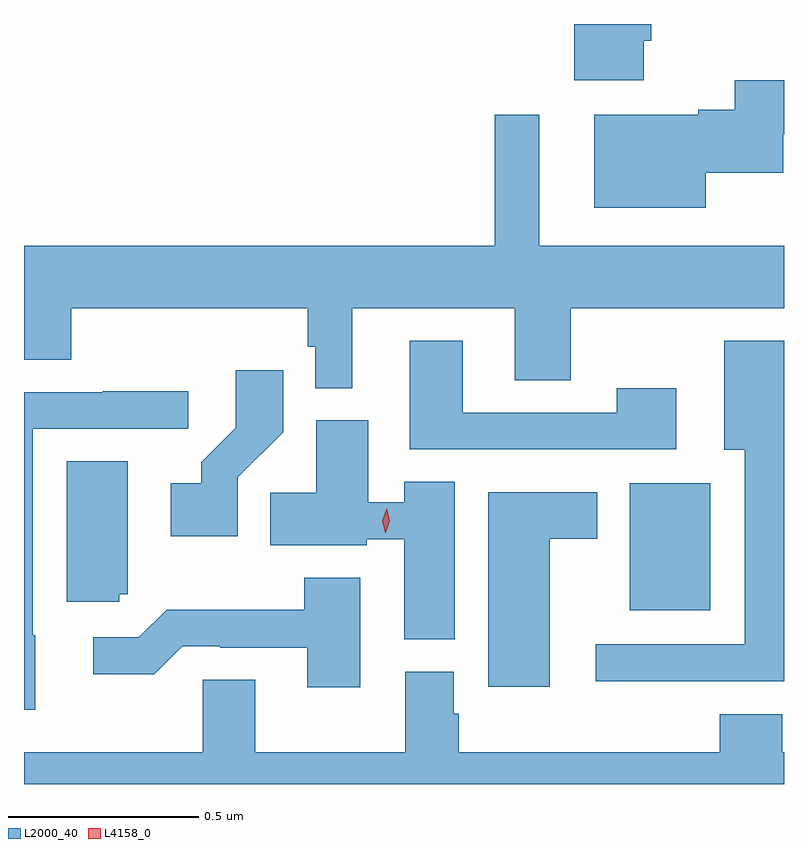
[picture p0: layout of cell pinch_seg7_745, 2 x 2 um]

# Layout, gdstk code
import gdstk
lib = gdstk.Library(unit=1e-6, precision=1e-09)
def R(c, l, rs):  # rectangles x0, y0, x1, y1
    for r in rs: c.add(gdstk.rectangle(r[:2], r[2:], *l))
def P(c, l, *ps):  # polygons
    for p in ps: c.add(gdstk.Polygon(p, *l))
L2000_40 = (2000, 40)
L4158_0 = (4158, 0)

pinch_seg7_745 = lib.new_cell('pinch_seg7_745')
R(pinch_seg7_745, L2000_40, [(322.688,1037.117,322.9,1037.452)])
P(pinch_seg7_745, L2000_40, [(322.725,1038.616),(322.745,1038.616),(322.745,1038.66),(322.542,1038.66),(322.542,1038.512),(322.725,1038.512)],
  [(322.888,1038.269),(323.092,1038.269),(323.092,1038.37),(323.094,1038.37),(323.094,1038.512),(322.964,1038.512),(322.964,1038.434),(322.868,1038.434),(322.868,1038.421),(322.595,1038.421),(322.595,1038.176),(322.888,1038.176)],
  [(321.958,1037.912),(322.385,1037.912),(322.385,1037.722),(322.533,1037.722),(322.533,1037.912),(323.094,1037.912),(323.094,1038.076),(322.45,1038.076),(322.45,1038.421),(322.333,1038.421),(322.333,1038.076),(321.094,1038.076),(321.094,1037.776),(321.218,1037.776),(321.218,1037.912),(321.841,1037.912),(321.841,1037.811),(321.861,1037.811),(321.861,1037.702),(321.958,1037.702)],
  [(322.81,1037.701),(322.654,1037.701),(322.654,1037.637),(322.249,1037.637),(322.249,1037.827),(322.109,1037.827),(322.109,1037.541),(322.81,1037.541)],
  [(323.094,1037.827),(322.937,1037.827),(322.937,1037.54),(322.991,1037.54),(322.991,1037.028),(322.599,1037.028),(322.599,1036.93),(323.094,1036.93)],
  [(321.657,1037.467),(321.776,1037.586),(321.776,1037.749),(321.651,1037.749),(321.651,1037.597),(321.56,1037.507),(321.56,1037.452),(321.48,1037.452),(321.48,1037.312),(321.657,1037.312)],
  [(321.124,1037.052),(321.117,1037.052),(321.117,1037.595),(321.526,1037.595),(321.526,1037.694),(321.301,1037.694),(321.301,1037.691),(321.094,1037.691),(321.094,1036.856),(321.124,1036.856)],
  [(322.228,1037.456),(322.094,1037.456),(322.094,1037.401),(322,1037.401),(322,1037.617),(321.863,1037.617),(321.863,1037.426),(321.742,1037.426),(321.742,1037.288),(321.996,1037.288),(321.996,1037.304),(322.094,1037.304),(322.094,1037.041),(322.228,1037.041)],
  [(321.345,1037.16),(321.367,1037.16),(321.367,1037.509),(321.206,1037.509),(321.206,1037.139),(321.345,1037.139)],
  [(322.477,1037.306),(322.603,1037.306),(322.603,1037.428),(322.316,1037.428),(322.316,1036.916),(322.477,1036.916)],
  [(321.979,1037.203),(321.832,1037.203),(321.832,1037.119),(321.469,1037.119),(321.396,1037.046),(321.276,1037.046),(321.276,1036.949),(321.437,1036.949),(321.51,1037.022),(321.61,1037.022),(321.61,1037.019),(321.839,1037.019),(321.839,1036.914),(321.979,1036.914)],
  [(323.094,1036.744),(323.09,1036.744),(323.09,1036.843),(322.925,1036.843),(322.925,1036.744),(322.238,1036.744),(322.238,1036.845),(322.225,1036.845),(322.225,1036.956),(322.097,1036.956),(322.097,1036.744),(321.703,1036.744),(321.703,1036.934),(321.564,1036.934),(321.564,1036.744),(321.094,1036.744),(321.094,1036.66),(323.094,1036.66)])
P(pinch_seg7_745, L4158_0, [(322.045,1037.321),(322.045,1037.321),(322.037,1037.353),(322.048,1037.385),(322.048,1037.386),(322.048,1037.385),(322.057,1037.353),(322.046,1037.321)])

lib.write_gds('pinch_seg7_745.gds')
